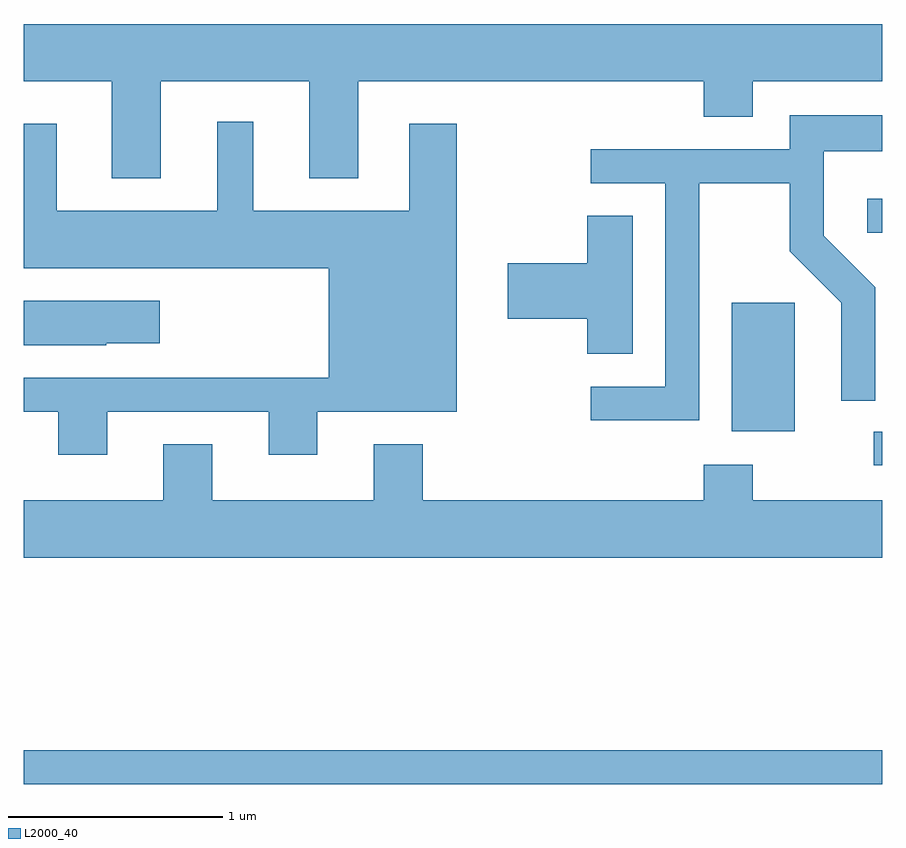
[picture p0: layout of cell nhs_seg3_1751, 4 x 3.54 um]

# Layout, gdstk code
import gdstk
lib = gdstk.Library(unit=1e-6, precision=1e-09)
def R(c, l, rs):  # rectangles x0, y0, x1, y1
    for r in rs: c.add(gdstk.rectangle(r[:2], r[2:], *l))
def P(c, l, *ps):  # polygons
    for p in ps: c.add(gdstk.Polygon(p, *l))
L2000_40 = (2000, 40)

nhs_seg3_1751 = lib.new_cell('nhs_seg3_1751')
R(nhs_seg3_1751, L2000_40, [(235.611,1218.201,239.611,1218.359), (239.573,1219.686,239.611,1219.844), (238.911,1219.846,239.204,1220.444), (239.543,1220.771,239.611,1220.929)])
P(nhs_seg3_1751, L2000_40, [(236.249,1221.476),(236.941,1221.476),(236.941,1221.026),(237.169,1221.026),(237.169,1221.476),(238.781,1221.476),(238.781,1221.311),(239.009,1221.311),(239.009,1221.476),(239.611,1221.476),(239.611,1221.744),(235.611,1221.744),(235.611,1221.476),(236.021,1221.476),(236.021,1221.026),(236.249,1221.026)],
  [(238.759,1221.001),(239.181,1221.001),(239.181,1220.684),(239.421,1220.444),(239.421,1219.988),(239.579,1219.988),(239.579,1220.517),(239.339,1220.757),(239.339,1221.151),(239.611,1221.151),(239.611,1221.319),(239.181,1221.319),(239.181,1221.159),(238.253,1221.159),(238.253,1221.001),(238.601,1221.001),(238.601,1220.054),(238.253,1220.054),(238.253,1219.896),(238.759,1219.896)],
  [(235.999,1219.936),(236.751,1219.936),(236.751,1219.736),(236.979,1219.736),(236.979,1219.936),(237.629,1219.936),(237.629,1221.279),(237.406,1221.279),(237.406,1220.874),(236.679,1220.874),(236.679,1221.288),(236.511,1221.288),(236.511,1220.874),(235.764,1220.874),(235.764,1221.279),(235.611,1221.279),(235.611,1220.606),(237.031,1220.606),(237.031,1220.094),(235.611,1220.094),(235.611,1219.936),(235.771,1219.936),(235.771,1219.736),(235.999,1219.736)],
  [(238.449,1220.849),(238.236,1220.849),(238.236,1220.629),(237.866,1220.629),(237.866,1220.371),(238.236,1220.371),(238.236,1220.206),(238.449,1220.206)],
  [(235.995,1220.256),(236.244,1220.256),(236.244,1220.454),(235.611,1220.454),(235.611,1220.246),(235.995,1220.246)],
  [(239.611,1219.524),(239.009,1219.524),(239.009,1219.689),(238.781,1219.689),(238.781,1219.524),(237.469,1219.524),(237.469,1219.784),(237.241,1219.784),(237.241,1219.524),(236.489,1219.524),(236.489,1219.784),(236.261,1219.784),(236.261,1219.524),(235.611,1219.524),(235.611,1219.256),(239.611,1219.256)])

lib.write_gds('nhs_seg3_1751.gds')
